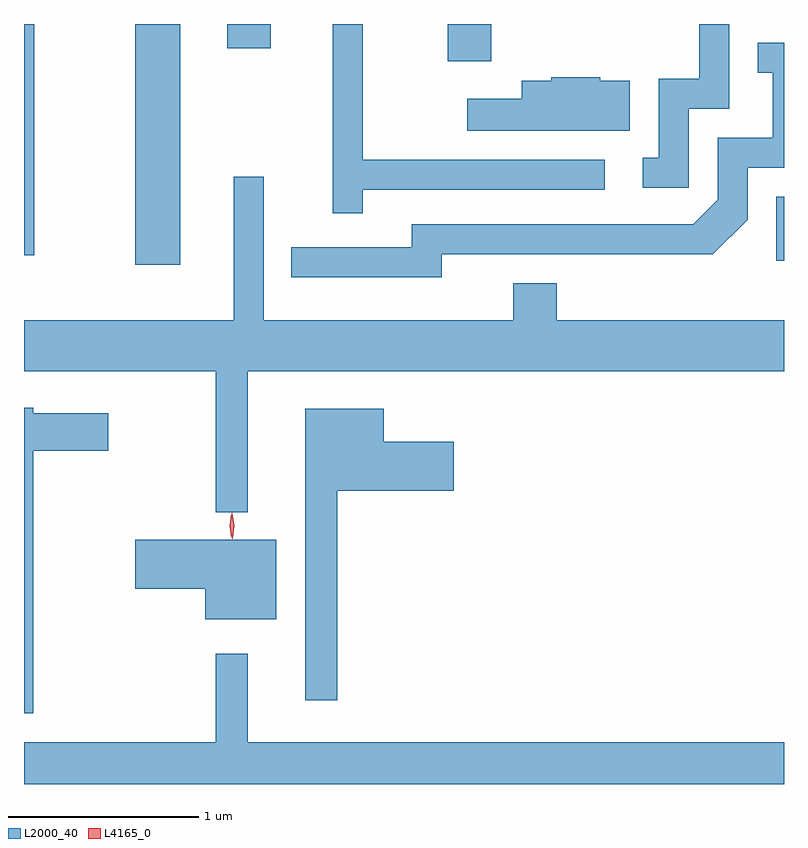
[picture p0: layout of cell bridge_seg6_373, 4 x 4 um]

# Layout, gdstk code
import gdstk
lib = gdstk.Library(unit=1e-6, precision=1e-09)
def R(c, l, rs):  # rectangles x0, y0, x1, y1
    for r in rs: c.add(gdstk.rectangle(r[:2], r[2:], *l))
def P(c, l, *ps):  # polygons
    for p in ps: c.add(gdstk.Polygon(p, *l))
L2000_40 = (2000, 40)
L4165_0 = (4165, 0)

bridge_seg6_373 = lib.new_cell('bridge_seg6_373')
R(bridge_seg6_373, L2000_40, [(945.306,1639.396,945.544,1640.663), (948.681,1639.418,948.721,1639.754), (944.721,1639.446,944.774,1640.663), (946.951,1640.466,947.179,1640.663), (945.791,1640.536,946.019,1640.663)])
P(bridge_seg6_373, L2000_40, [(946.504,1639.791),(947.778,1639.791),(947.778,1639.949),(946.504,1639.949),(946.504,1640.663),(946.346,1640.663),(946.346,1639.668),(946.504,1639.668)],
  [(948.219,1640.216),(948.434,1640.216),(948.434,1640.663),(948.276,1640.663),(948.276,1640.374),(948.061,1640.374),(948.061,1639.959),(947.978,1639.959),(947.978,1639.801),(948.219,1639.801)],
  [(946.919,1639.451),(948.347,1639.451),(948.529,1639.634),(948.529,1639.906),(948.721,1639.906),(948.721,1640.564),(948.583,1640.564),(948.583,1640.406),(948.661,1640.406),(948.661,1640.064),(948.371,1640.064),(948.371,1639.737),(948.244,1639.609),(946.761,1639.609),(946.761,1639.489),(946.128,1639.489),(946.128,1639.331),(946.919,1639.331)],
  [(947.909,1640.364),(947.754,1640.364),(947.754,1640.384),(947.496,1640.384),(947.496,1640.364),(947.341,1640.364),(947.341,1640.269),(947.053,1640.269),(947.053,1640.101),(947.909,1640.101)],
  [(945.899,1638.836),(948.721,1638.836),(948.721,1639.104),(947.524,1639.104),(947.524,1639.299),(947.296,1639.299),(947.296,1639.104),(945.984,1639.104),(945.984,1639.858),(945.826,1639.858),(945.826,1639.104),(944.721,1639.104),(944.721,1638.836),(945.731,1638.836),(945.731,1638.093),(945.899,1638.093)],
  [(944.769,1638.416),(945.164,1638.416),(945.164,1638.614),(944.769,1638.614),(944.769,1638.644),(944.721,1638.644),(944.721,1637.036),(944.769,1637.036)],
  [(946.369,1638.206),(946.984,1638.206),(946.984,1638.464),(946.614,1638.464),(946.614,1638.639),(946.201,1638.639),(946.201,1637.103),(946.369,1637.103)],
  [(946.049,1637.949),(945.306,1637.949),(945.306,1637.691),(945.676,1637.691),(945.676,1637.531),(946.049,1637.531)],
  [(948.721,1636.884),(945.899,1636.884),(945.899,1637.348),(945.731,1637.348),(945.731,1636.884),(944.721,1636.884),(944.721,1636.663),(948.721,1636.663)])
P(bridge_seg6_373, L4165_0, [(945.818,1637.954),(945.808,1638.022),(945.817,1638.09),(945.818,1638.09),(945.818,1638.09),(945.828,1638.022),(945.82,1637.954),(945.819,1637.954)],
  [(945.812,1637.96),(945.803,1638.023),(945.812,1638.086),(945.813,1638.087),(945.813,1638.086),(945.823,1638.023),(945.813,1637.96),(945.813,1637.96)])

lib.write_gds('bridge_seg6_373.gds')
